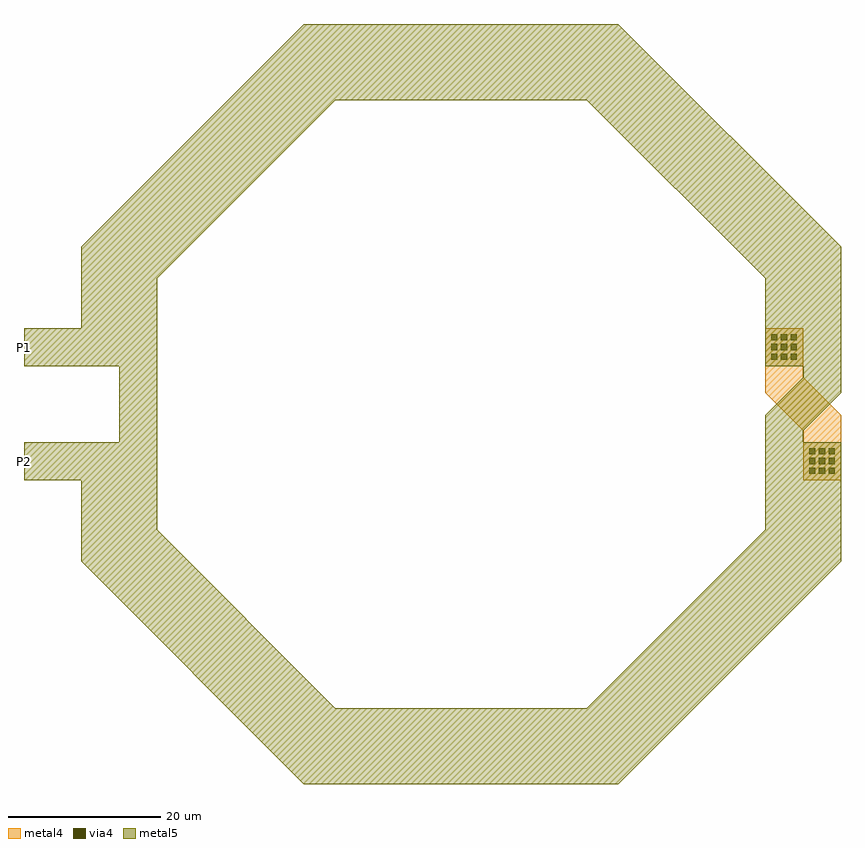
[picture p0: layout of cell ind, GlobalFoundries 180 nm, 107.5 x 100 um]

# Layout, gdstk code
import gdstk
lib = gdstk.Library(unit=1e-6, precision=5e-09)
def R(c, l, rs):  # rectangles x0, y0, x1, y1
    for r in rs: c.add(gdstk.rectangle(r[:2], r[2:], *l))
def A(c, l, x, y, w, h, nx, ny, dx, dy):  # array of equal rectangles
    R(c, l, [(x+i*dx, y+j*dy, x+i*dx+w, y+j*dy+h) for i in range(nx) for j in range(ny)])
via4 = (41, 0)
metal4 = (46, 0)
metal5 = (81, 0)

ind = lib.new_cell('ind')
A(ind, via4, 88.3, -9.2, 0.8, 0.8, 3, 3, 1.3, 1.3)
A(ind, via4, 83.3, 5.8, 0.8, 0.8, 3, 3, 1.3, 1.3)
ind.add(gdstk.FlexPath([(0,0),(0,-17.605),(24.895,-42.5),(60.105,-42.5),(85,-17.605),(85,-5)], 5, ends="flush", simple_path=True, layer=81, datatype=0))  # metal5
ind.add(gdstk.FlexPath([(0,0),(0,17.605),(24.895,42.5),(60.105,42.5),(85,17.605),(85,5)], 5, ends="flush", simple_path=True, layer=81, datatype=0))  # metal5
ind.add(gdstk.FlexPath([(-15,-7.5),(-5,-7.5),(-5,-19.675),(22.825,-47.5),(62.175,-47.5),(90,-19.675),(90,-5)], 5, ends="flush", simple_path=True, layer=81, datatype=0))  # metal5
ind.add(gdstk.FlexPath([(-15,7.5),(-5,7.5),(-5,19.675),(22.825,47.5),(62.175,47.5),(90,19.675),(90,5)], 5, ends="flush", simple_path=True, layer=81, datatype=0))  # metal5
ind.add(gdstk.FlexPath([(90,5),(90,2.5),(85,-2.5),(85,-5)], 5, ends="flush", simple_path=True, layer=81, datatype=0))  # metal5
ind.add(gdstk.FlexPath([(90,-10),(90,-2.5),(85,2.5),(85,10)], 5, ends="flush", simple_path=True, layer=46, datatype=0))  # metal4
ind.add(gdstk.Label('P1', (-15,7.5), layer=81, texttype=0))
ind.add(gdstk.Label('P2', (-15,-7.5), layer=81, texttype=0))

lib.write_gds('ind.gds')
